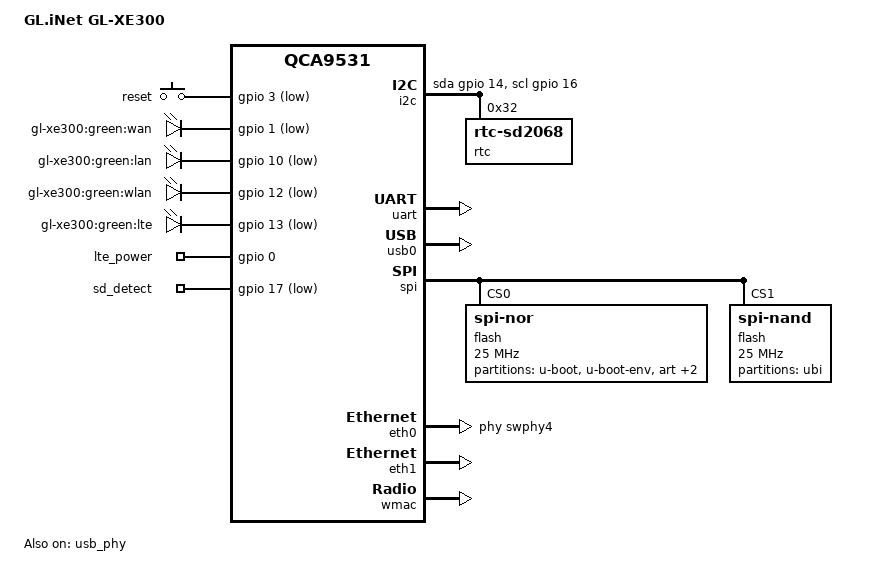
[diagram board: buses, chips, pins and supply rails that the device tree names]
// SPDX-License-Identifier: GPL-2.0-or-later OR MIT
/dts-v1/;

#include <dt-bindings/gpio/gpio.h>
#include <dt-bindings/input/input.h>

#include "qca953x.dtsi"

/ {
	compatible = "glinet,gl-xe300", "qca,qca9531";
	model = "GL.iNet GL-XE300";

	aliases {
		label-mac-device = &eth0;
	};

	keys {
		compatible = "gpio-keys";

		pinctrl-names = "default";
		pinctrl-0 = <&jtag_disable_pins>;

		reset {
			label = "reset";
			linux,code = <KEY_RESTART>;
			gpios = <&gpio 3 GPIO_ACTIVE_LOW>;
		};
	};

	leds {
		compatible = "gpio-leds";

		wan {
			label = "gl-xe300:green:wan";
			gpios = <&gpio 1 GPIO_ACTIVE_LOW>;
		};

		lan {
			label = "gl-xe300:green:lan";
			gpios = <&gpio 10 GPIO_ACTIVE_LOW>;
		};

		wlan {
			label = "gl-xe300:green:wlan";
			gpios = <&gpio 12 GPIO_ACTIVE_LOW>;
			linux,default-trigger = "phy0tpt";
		};

		lte {
			label = "gl-xe300:green:lte";
			gpios = <&gpio 13 GPIO_ACTIVE_LOW>;
		 };
	};

	gpio-export {
		compatible = "gpio-export";

		gpio_lte_power {
			gpio-export,name = "lte_power";
			gpio-export,output = <1>;
			gpios = <&gpio 0 GPIO_ACTIVE_HIGH>;
		};

		gpio_sd_detect {
			gpio-export,name = "sd_detect";
			gpio-export,output = <0>;
			gpios = <&gpio 17 GPIO_ACTIVE_LOW>;
		};
	 };

	i2c: i2c {
		compatible = "i2c-gpio";

		sda-gpios = <&gpio 14 (GPIO_ACTIVE_HIGH|GPIO_OPEN_DRAIN)>;
		scl-gpios = <&gpio 16 (GPIO_ACTIVE_HIGH|GPIO_OPEN_DRAIN)>;

		#address-cells = <1>;
		#size-cells = <0>;

		rtc@32 {
                        compatible = "rtc-sd2068";
                        reg = <0x32>;
		};

	};
};

&uart {
	status = "okay";
};

&usb0 {
	status = "okay";
};

&usb_phy {
	status = "okay";
};

&spi {
	status = "okay";
	num-cs = <2>;

	flash@0 {
		compatible = "jedec,spi-nor";
		reg = <0>;
		spi-max-frequency = <25000000>;

		partitions {
			compatible = "fixed-partitions";
			#address-cells = <1>;
			#size-cells = <1>;

			partition@0 {
				label = "u-boot";
				reg = <0x0 0x40000>;
				read-only;
			};

			partition@40000 {
				label = "u-boot-env";
				reg = <0x40000 0x10000>;
			};

			art: partition@50000 {
				label = "art";
				reg = <0x50000 0x10000>;
				read-only;
			};

			partition@60000 {
				label = "kernel";
				reg = <0x60000 0x400000>;
			};

			partition@460000 {
				label = "reserved";
				reg = <0x460000 0x3a0000>;
			};
		};
	};

	flash@1 {
		compatible = "spi-nand";
		reg = <1>;
		spi-max-frequency = <25000000>;

		partitions {
			compatible = "fixed-partitions";
			#address-cells = <1>;
			#size-cells = <1>;

			partition@0 {
				label = "ubi";
				reg = <0x0 0x8000000>;
			};
		};
	};
};

&eth0 {
	status = "okay";

	mtd-mac-address = <&art 0x0>;
	phy-handle = <&swphy4>;
};

&eth1 {
	status = "okay";

	mtd-mac-address = <&art 0x0>;
	mtd-mac-address-increment = <1>;
};

&wmac {
	status = "okay";

	mtd-cal-data = <&art 0x1000>;
};
